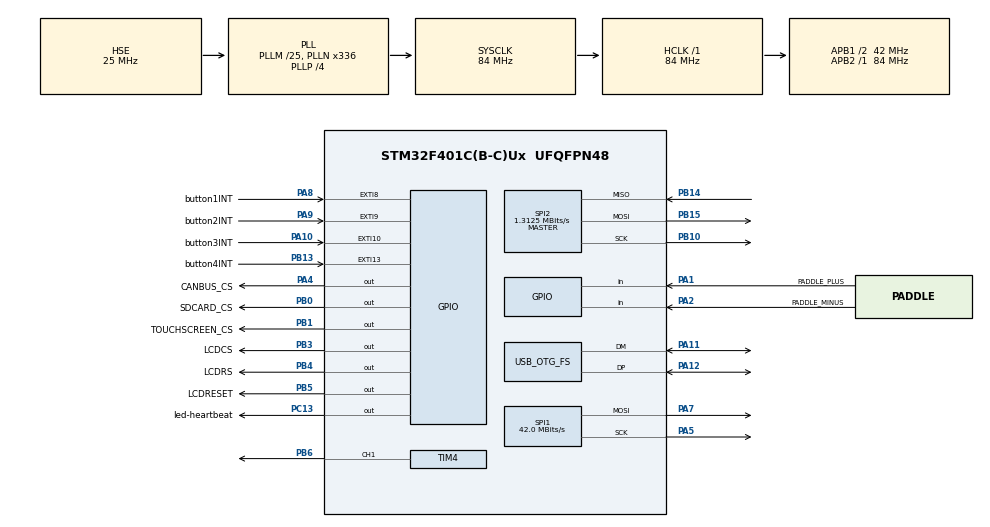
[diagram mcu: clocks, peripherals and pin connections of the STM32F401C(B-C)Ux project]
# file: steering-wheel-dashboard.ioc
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Dma.Request0=TIM4_CH1
Dma.Request1=SPI1_TX
Dma.SPI1_TX.1.Direction=DMA_MEMORY_TO_PERIPH
Dma.SPI1_TX.1.FIFOMode=DMA_FIFOMODE_DISABLE
Dma.SPI1_TX.1.Instance=DMA2_Stream3
Dma.SPI1_TX.1.MemDataAlignment=DMA_MDATAALIGN_HALFWORD
Dma.SPI1_TX.1.MemInc=DMA_MINC_ENABLE
Dma.SPI1_TX.1.Mode=DMA_NORMAL
Dma.SPI1_TX.1.PeriphDataAlignment=DMA_PDATAALIGN_HALFWORD
Dma.SPI1_TX.1.PeriphInc=DMA_PINC_DISABLE
Dma.SPI1_TX.1.Priority=DMA_PRIORITY_LOW
Dma.TIM4_CH1.0.Direction=DMA_MEMORY_TO_PERIPH
Dma.TIM4_CH1.0.FIFOMode=DMA_FIFOMODE_DISABLE
Dma.TIM4_CH1.0.Instance=DMA1_Stream0
Dma.TIM4_CH1.0.MemDataAlignment=DMA_MDATAALIGN_HALFWORD
Dma.TIM4_CH1.0.MemInc=DMA_MINC_ENABLE
Dma.TIM4_CH1.0.Mode=DMA_NORMAL
Dma.TIM4_CH1.0.PeriphDataAlignment=DMA_PDATAALIGN_HALFWORD
Dma.TIM4_CH1.0.PeriphInc=DMA_PINC_DISABLE
Dma.TIM4_CH1.0.Priority=DMA_PRIORITY_LOW
Mcu.Family=STM32F4
Mcu.Name=STM32F401C(B-C)Ux
Mcu.Package=UFQFPN48
NVIC.DMA1_Stream0_IRQn=true\:0\:0\:false\:false\:true\:false\:true\:true
NVIC.DMA2_Stream3_IRQn=true\:0\:0\:false\:false\:true\:false\:true\:true
NVIC.EXTI15_10_IRQn=true\:0\:0\:false\:false\:true\:true\:true\:true
NVIC.EXTI9_5_IRQn=true\:0\:0\:false\:false\:true\:true\:true\:true
NVIC.OTG_FS_IRQn=true\:0\:0\:false\:false\:true\:false\:true\:true
NVIC.PriorityGroup=NVIC_PRIORITYGROUP_4
PA1.GPIO_Label=PADDLE_PLUS
PA1.Signal=GPIO_Input
PA10.GPIO_Label=button3INT
PA10.Signal=GPXTI10
PA11.Mode=Device_Only
PA11.Signal=USB_OTG_FS_DM
PA12.Mode=Device_Only
PA12.Signal=USB_OTG_FS_DP
PA2.GPIO_Label=PADDLE_MINUS
PA2.Signal=GPIO_Input
PA4.GPIO_Label=CANBUS_CS
PA4.Signal=GPIO_Output
PA5.Mode=TX_Only_Simplex_Unidirect_Master
PA5.Signal=SPI1_SCK
PA7.Mode=TX_Only_Simplex_Unidirect_Master
PA7.Signal=SPI1_MOSI
PA8.GPIO_Label=button1INT
PA8.GPIO_ModeDefaultEXTI=GPIO_MODE_IT_FALLING
PA8.Signal=GPXTI8
PA9.GPIO_Label=button2INT
PA9.GPIO_ModeDefaultEXTI=GPIO_MODE_IT_FALLING
PA9.Signal=GPXTI9
PB0.GPIO_Label=SDCARD_CS
PB0.GPIO_ModeDefaultOutputPP=GPIO_MODE_OUTPUT_PP
PB0.GPIO_PuPd=GPIO_NOPULL
PB0.Signal=GPIO_Output
PB1.GPIO_Label=TOUCHSCREEN_CS
PB1.Signal=GPIO_Output
PB10.Mode=Full_Duplex_Master
PB10.Signal=SPI2_SCK
PB13.GPIO_Label=button4INT
PB13.Signal=GPXTI13
PB14.Mode=Full_Duplex_Master
PB14.Signal=SPI2_MISO
PB15.Mode=Full_Duplex_Master
PB15.Signal=SPI2_MOSI
PB3.GPIO_Label=LCDCS
PB3.Signal=GPIO_Output
PB4.GPIO_Label=LCDRS
PB4.Signal=GPIO_Output
PB5.GPIO_Label=LCDRESET
PB5.Signal=GPIO_Output
PB6.Signal=S_TIM4_CH1
PC13-ANTI_TAMP.GPIO_Label=led-heartbeat
PC13-ANTI_TAMP.Signal=GPIO_Output
PC14-OSC32_IN.Mode=LSE-External-Oscillator
PC14-OSC32_IN.Signal=RCC_OSC32_IN
PC15-OSC32_OUT.Mode=LSE-External-Oscillator
PC15-OSC32_OUT.Signal=RCC_OSC32_OUT
PH0\ -\ OSC_IN.Mode=HSE-External-Oscillator
PH0\ -\ OSC_IN.Signal=RCC_OSC_IN
PH1\ -\ OSC_OUT.Mode=HSE-External-Oscillator
PH1\ -\ OSC_OUT.Signal=RCC_OSC_OUT
ProjectManager.HeapSize=0x200
ProjectManager.StackSize=0x400
ProjectManager.TargetToolchain=STM32CubeIDE
RCC.48MHZClocksFreq_Value=48000000
RCC.AHBFreq_Value=84000000
RCC.APB1CLKDivider=RCC_HCLK_DIV2
RCC.APB1Freq_Value=42000000
RCC.APB1TimFreq_Value=84000000
RCC.APB2Freq_Value=84000000
RCC.APB2TimFreq_Value=84000000
RCC.CortexFreq_Value=84000000
RCC.HCLKFreq_Value=84000000
RCC.HSE_VALUE=25000000
RCC.HSI_VALUE=16000000
RCC.PLLM=25
RCC.PLLN=336
RCC.PLLP=RCC_PLLP_DIV4
RCC.PLLQ=7
RCC.SYSCLKFreq_VALUE=84000000
RCC.SYSCLKSource=RCC_SYSCLKSOURCE_PLLCLK
RCC.VCOOutputFreq_Value=336000000
SH.S_TIM4_CH1.0=TIM4_CH1,PWM Generation1 CH1
SPI1.BaudRatePrescaler=SPI_BAUDRATEPRESCALER_2
SPI1.CalculateBaudRate=42.0 MBits/s
SPI1.DataSize=SPI_DATASIZE_16BIT
SPI1.Direction=SPI_DIRECTION_2LINES
SPI1.Mode=SPI_MODE_MASTER
SPI1.VirtualType=VM_MASTER
SPI2.BaudRatePrescaler=SPI_BAUDRATEPRESCALER_32
SPI2.CalculateBaudRate=1.3125 MBits/s
SPI2.Direction=SPI_DIRECTION_2LINES
SPI2.Mode=SPI_MODE_MASTER
SPI2.VirtualType=VM_MASTER
TIM4.AutoReloadPreload=TIM_AUTORELOAD_PRELOAD_DISABLE
TIM4.Channel-PWM\ Generation1\ CH1=TIM_CHANNEL_1
TIM4.Period=105
USB_DEVICE.CLASS_NAME_FS=CDC
USB_DEVICE.VirtualMode=Cdc
USB_DEVICE.VirtualModeFS=Cdc_FS
USB_OTG_FS.VirtualMode=Device_Only
VP_FATFS_VS_Generic.Mode=User_defined
VP_TIM4_VS_ClockSourceINT.Mode=Internal
VP_USB_DEVICE_VS_USB_DEVICE_CDC_FS.Mode=CDC_FS
board=custom

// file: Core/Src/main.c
/* USER CODE BEGIN Header */
/**
  ******************************************************************************
  * @file           : main.c
  * @brief          : Main program body
  ******************************************************************************
  * @attention
  *
  * Copyright (c) 2025 STMicroelectronics.
  * All rights reserved.
  *
  * This software is licensed under terms that can be found in the LICENSE file
  * in the root directory of this software component.
  * If no LICENSE file comes with this software, it is provided AS-IS.
  *
  ******************************************************************************
  */
/* USER CODE END Header */
#include "main.h"
#include "dma.h"
#include "fatfs.h"
#include "spi.h"
#include "tim.h"
#include "usb_device.h"
#include "gpio.h"

/* USER CODE BEGIN Includes */

#include "rpi-display/rpiDisplayShapes.h"
#include "rpi-display/FreeMonoBold24pt7b.h"
#include "rpi-display/FreeSans18pt7b.h"
#include "rpi-display/rpiSceneBuilderUser.h"
#include "shiftLights.h"
#include "easyusbprintln/easyusbprintln.h"

#include <stdio.h>

#include "mcp2515user.h"

#include "stm32f4xx_hal.h"

/* USER CODE END Includes */

/* USER CODE BEGIN PD */
extern uint8_t CDC_Transmit_FS (uint8_t *data, uint16_t);

/* USER CODE END PD */

void SystemClock_Config(void);

/* USER CODE BEGIN 0 */

volatile static int buttonpressed = 0;
void HAL_GPIO_EXTI_Callback(uint16_t GPIO_Pin) {
	if (GPIO_Pin == button1INT_Pin) {
		buttonpressed = 1;
	} else if (GPIO_Pin == button2INT_Pin) {
		buttonpressed = 2;
	} else if (GPIO_Pin == button3INT_Pin ) {
		buttonpressed = 3;
	} else if (GPIO_Pin == button4INT_Pin) {
		buttonpressed = 4;
	} else {
		USB_Println("unknown button pressed: 0x%x", GPIO_Pin);
	}
}

/* USER CODE END 0 */

int main(void)
{

  /* MCU Configuration--------------------------------------------------------*/

  /* Reset of all peripherals, Initializes the Flash interface and the Systick. */
  HAL_Init();

  /* Configure the system clock */
  SystemClock_Config();

  /* Initialize all configured peripherals */
  MX_GPIO_Init();
  MX_DMA_Init();
  MX_SPI1_Init();
  MX_USB_DEVICE_Init();
  MX_SPI2_Init();
  MX_TIM4_Init();
  MX_FATFS_Init();

  /* Infinite loop */
  /* USER CODE BEGIN WHILE */

  HAL_Delay(100);

  FATFS fs;
  FRESULT fresult = f_mount(&fs, "/", 1);

  initializeMCP2515();
  //setFilters();
  uint8_t ledcolors[3 * 16];
  uint16_t ledbytes[(16 * 24) + 150];
  int G1[12] = {500, 3000, 4000, 5000, 6000, 7000, 8000, 8500, 9000, 9500,
  10000, 10200};
  shiftLightsInit(&htim4, TIM_CHANNEL_1, ledcolors, ledbytes);
  setColor(&htim4, TIM_CHANNEL_1, 0, 0, 0, ledcolors, ledbytes, 0);
  setColor(&htim4, TIM_CHANNEL_1, 0, 0, 0, ledcolors, ledbytes, 1);
  setColor(&htim4, TIM_CHANNEL_1, 0, 0, 0, ledcolors, ledbytes, 14);
  setColor(&htim4, TIM_CHANNEL_1, 0, 0, 0, ledcolors, ledbytes, 15);

  resetScreen();
  initializeScreen();
  if (fresult != FR_OK) {
	  USB_Println("There was an error: %d\n", fresult);
  } else {
	  USB_Println("the sdcard is mounted\n");
	  dosplashscene();
  }
  startUp(&htim4, TIM_CHANNEL_1, ledcolors, ledbytes);
  HAL_Delay(200);

  char result[20] = "null"; //rpm
  char result2[20] = "null";//temp
  char result3[20] = "8";//gear
  char result4[20] = "null"; //battery volt
  char result5[20] = "null"; //speed
  settempdata(result2);
  setgeardata(result3);
  setrpmdata(result);
  setbattdata(result4);
  setspeeddata(result5);
  domainscreen();

  struct can_frame frame;
  uint8_t gear = 8;
  uint8_t isNeutral = 0;
  while (1)
  {

	  if (buttonpressed == 3) {
		  frame.can_id = 601;
		  sendMessage(&frame);
		  HAL_Delay(10);
		  USB_Println("button3 job in while loop done\n");
		  buttonpressed = 0;
	  }

	  //for (int i = 0; i < 10; i++) {
		  int canresult = readMessage(&frame);
		  if (canresult == 0) {
			  if (frame.can_id == (1520 + 0)) {
				  uint16_t rpm = (((uint16_t)frame.data[6]) << 8) + frame.data[7];
				  UpdateShiftLights(&htim4, TIM_CHANNEL_1, ledcolors, ledbytes, rpm, G1);

				  itoa(rpm, (char*)(result), 10);
				  setrpmdata(result);
				  domainscreen();
			  }
			  if (frame.can_id == (1520 + 2)) {
				  uint16_t temp = (((uint16_t)frame.data[6]) << 8) + frame.data[7];
				  if (temp > 2150) {
					setColor(&htim4, TIM_CHANNEL_1, 0, 255, 0, ledcolors, ledbytes, 15);
				  } else {
					setColor(&htim4, TIM_CHANNEL_1, 0, 0, 0, ledcolors, ledbytes, 15);
				  }
				  temp /= 10;
				  itoa(temp, result2, 10);
				  settempdata(result2);
			  }
			  if (frame.can_id == 1520 + 33) {
				  gear = ((uint8_t)frame.data[6]);
				  if (gear != 0) {
					  //USB_Println("the gear value is %d\n", gear);
					  itoa(gear, result3, 10);
					  setgeardata(result3);
				  }
			  }
			  if (frame.can_id == (1520 + 3)) {
				  uint8_t battvalue = (((uint16_t)frame.data[2]) << 8) + frame.data[3];
				  uint8_t batIntPart = battvalue / 10;
				  uint8_t batDecimalPart = battvalue % 10;
				  char batint[10];
				  char batdec[10];
				  itoa(batIntPart, batint, 10);
				  itoa(batDecimalPart, batdec, 10);
				  strncpy(result4, "", 20);
				  strncat(result4, batint, 5);
				  strncat(result4, ".", 5);
				  strncat(result4, batdec, 1);
				  setbattdata(result4);
			  } else if (frame.can_id == 504) {
				  uint16_t neutrallight = (uint16_t)((frame.data[6] << 8) | (frame.data[7]));
				  if (neutrallight < 1024) {
					  //isNeutral = 1;
					  setColor(&htim4, TIM_CHANNEL_1, 128, 255, 0, ledcolors, ledbytes, 0);
					  strncpy(result3, "7", 10);
					  setgeardata(result3);
				  } else {
					  //isNeutral = 0;
					  setColor(&htim4, TIM_CHANNEL_1, 0, 0, 0, ledcolors, ledbytes, 0);
					  //strncpy(result3, "8", 10);
					  //setgeardata(result3);
				  }
				  //USB_Println("the neutral light value is %d\n", neutrallight);
			  } else if (frame.can_id == 1520 + 42) {
				  uint16_t speed = (uint16_t)((frame.data[0] << 8) | (frame.data[1]));
				  speed /= 10;
				  itoa(speed, (char*) result5, 10);
				  setspeeddata(result5);
			  }
		  }
	/*
	  if (l) {
		  setColor(&htim4, TIM_CHANNEL_1, 128, 255, 0, ledcolors, ledbytes, 14);
		  l = 0;
	  } else {
		  setColor(&htim4, TIM_CHANNEL_1, 0, 0, 0, ledcolors, ledbytes, 14);
		  l = 1;
	  }
	 */

	//	  CDC_Transmit_FS (status, sizeof(status));
    /* USER CODE END WHILE */

  }
}

void SystemClock_Config(void)
{
  RCC_OscInitTypeDef RCC_OscInitStruct = {0};
  RCC_ClkInitTypeDef RCC_ClkInitStruct = {0};

  /** Configure the main internal regulator output voltage
  */
  __HAL_RCC_PWR_CLK_ENABLE();
  __HAL_PWR_VOLTAGESCALING_CONFIG(PWR_REGULATOR_VOLTAGE_SCALE2);

  /** Initializes the RCC Oscillators according to the specified parameters
  * in the RCC_OscInitTypeDef structure.
  */
  RCC_OscInitStruct.OscillatorType = RCC_OSCILLATORTYPE_HSE;
  RCC_OscInitStruct.HSEState = RCC_HSE_ON;
  RCC_OscInitStruct.PLL.PLLState = RCC_PLL_ON;
  RCC_OscInitStruct.PLL.PLLSource = RCC_PLLSOURCE_HSE;
  RCC_OscInitStruct.PLL.PLLM = 25;
  RCC_OscInitStruct.PLL.PLLN = 336;
  RCC_OscInitStruct.PLL.PLLP = RCC_PLLP_DIV4;
  RCC_OscInitStruct.PLL.PLLQ = 7;
  if (HAL_RCC_OscConfig(&RCC_OscInitStruct) != HAL_OK)
  {
    Error_Handler();
  }

  /** Initializes the CPU, AHB and APB buses clocks
  */
  RCC_ClkInitStruct.ClockType = RCC_CLOCKTYPE_HCLK|RCC_CLOCKTYPE_SYSCLK
                              |RCC_CLOCKTYPE_PCLK1|RCC_CLOCKTYPE_PCLK2;
  RCC_ClkInitStruct.SYSCLKSource = RCC_SYSCLKSOURCE_PLLCLK;
  RCC_ClkInitStruct.AHBCLKDivider = RCC_SYSCLK_DIV1;
  RCC_ClkInitStruct.APB1CLKDivider = RCC_HCLK_DIV2;
  RCC_ClkInitStruct.APB2CLKDivider = RCC_HCLK_DIV1;

  if (HAL_RCC_ClockConfig(&RCC_ClkInitStruct, FLASH_LATENCY_2) != HAL_OK)
  {
    Error_Handler();
  }
}

void Error_Handler(void)
{
  __disable_irq();
  while (1)
  {
  }
}
